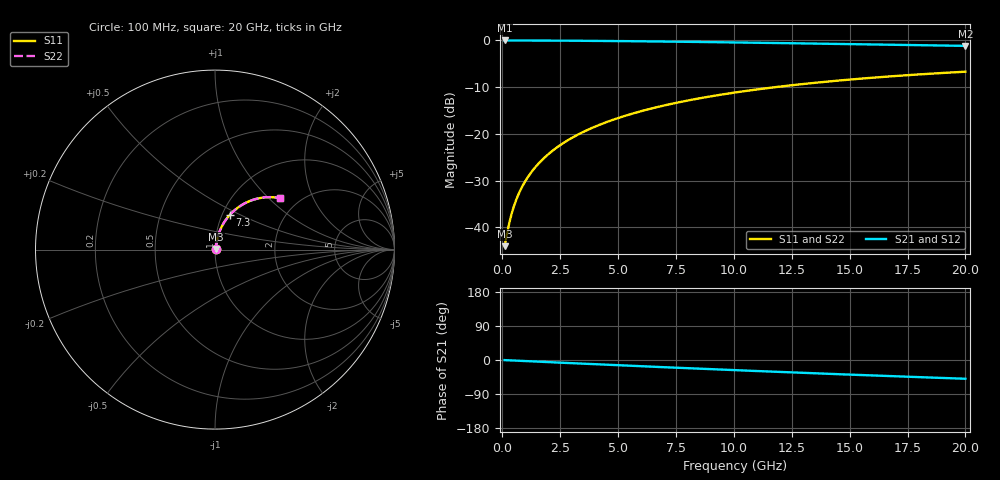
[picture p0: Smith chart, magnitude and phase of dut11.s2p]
! Touchstone file exported from HFSS 2026.1.0
!  File:  C:/ffzhzh/LocalFiles/Ansys_Project_Files/temp_test_TMRDL_11_1782906998_46784.aedt
!  Generated:  07:57:52 PM Jul  1, 2026
!  Design:  TMRDL
!  Project:  temp_test_TMRDL_11_1782906998_46784
! Variables:
!  h_bsmrdl = 2um
!  h_ox = 20um
!  h_rdl = 5um
!  h_sub = 80um
!  h_tmrdl = 4.13um
!  h_tsv = 80um
!  h_via = 3um
!  l_bsmrdl = 300um
!  l_sub = 1152.44um
!  l_tmrdl = 752.44um
!  m_sub = 200um
!  pitch = 33.96um
!  r_tsv = 6um
!  s_tmrdl = 10um
!  w_bsmrdl = 18um
!  w_sub = 500um
!  w_tmrdl = 11.94um
!  x_tsv_center1 = 758.41um
!  x_tsv_center2 = 1076.41um
!  x_tsv_center3 = 1840.79um
!  x_tsv_center4 = 2158.79um
!  x_tsv_center5 = 2923.17um
!  x_tsv_center6 = 3241.17um
# GHz S MA R 50.000000
! Terminal data exported
! Port[1] = TM_RDL1_1_T1
! Port[2] = TM_RDL1_1_T2
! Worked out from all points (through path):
!   200 points, 100 MHz to 20 GHz, reference 50 ohm
!   highest |S21| = -0.05 dB at 100 MHz (marker M1); lowest = -1.2 dB at 20 GHz (marker M2)
!   group delay of S21, straight-line fit = 6.88 ps
!   lowest |S11| = -44.0 dB at 100 MHz (marker M3), VSWR 1.01, Z = 50.5 + j0.323 ohm
!   |S11| at or under -10 dB: start of sweep to 11.83 GHz
!   |S22| runs from -44.0 to -6.7 dB; largest |S21 - S12| = 3e-15
!   S11 on the Smith chart (normalised r, x): 100 MHz: 1.01, +0.01; 7.3 GHz: 1.09, +0.44; 20 GHz: 1.60, +1.17
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0.1  0.006304 30.5  0.9946 -0.3  0.9946 -0.3  0.006304 30.5
! Gamma 0 0 0 0
! Port Impedance 50 0 50 0
0.3  0.0111 58.6  0.9943 -0.9  0.9943 -0.9  0.0111 58.6
0.4  0.01392 64.3  0.9941 -1.1  0.9941 -1.1  0.01392 64.3
0.5  0.0168 68.0  0.994 -1.4  0.994 -1.4  0.01679 68.0
0.6  0.0197 70.5  0.9938 -1.7  0.9938 -1.7  0.0197 70.5
0.8  0.02554 73.6  0.9935 -2.3  0.9935 -2.3  0.02554 73.6
1.1  0.03436 76.1  0.993 -3.1  0.993 -3.1  0.03436 76.1
1.3  0.04026 76.9  0.9927 -3.7  0.9927 -3.7  0.04026 76.9
1.6  0.04913 77.6  0.9921 -4.5  0.9921 -4.5  0.04913 77.6
2.1  0.06391 77.8  0.991 -5.9  0.991 -5.9  0.06391 77.8
2.7  0.08157 77.2  0.9893 -7.5  0.9893 -7.5  0.08157 77.2
3.5  0.1048 75.8  0.9864 -9.7  0.9864 -9.7  0.1048 75.8
4.2  0.1249 74.4  0.9835 -11.6  0.9835 -11.6  0.1249 74.4
5  0.1473 72.5  0.9797 -13.8  0.9797 -13.8  0.1473 72.6
5.9  0.172 70.4  0.9748 -16.2  0.9748 -16.2  0.172 70.4
6.8  0.196 68.2  0.9695 -18.5  0.9695 -18.5  0.196 68.2
7.3  0.2089 67.0  0.9664 -19.8  0.9664 -19.8  0.2089 67.0
8.6  0.2417 63.8  0.9577 -23.1  0.9577 -23.1  0.2417 63.9
10.1  0.2775 60.3  0.947 -26.9  0.947 -26.9  0.2775 60.3
13.4  0.3489 52.6  0.9218 -34.9  0.9218 -34.9  0.3489 52.6
16.7  0.4101 45.4  0.8958 -42.4  0.8958 -42.4  0.4101 45.4
20  0.4612 38.5  0.8705 -49.5  0.8705 -49.5  0.4612 38.5
